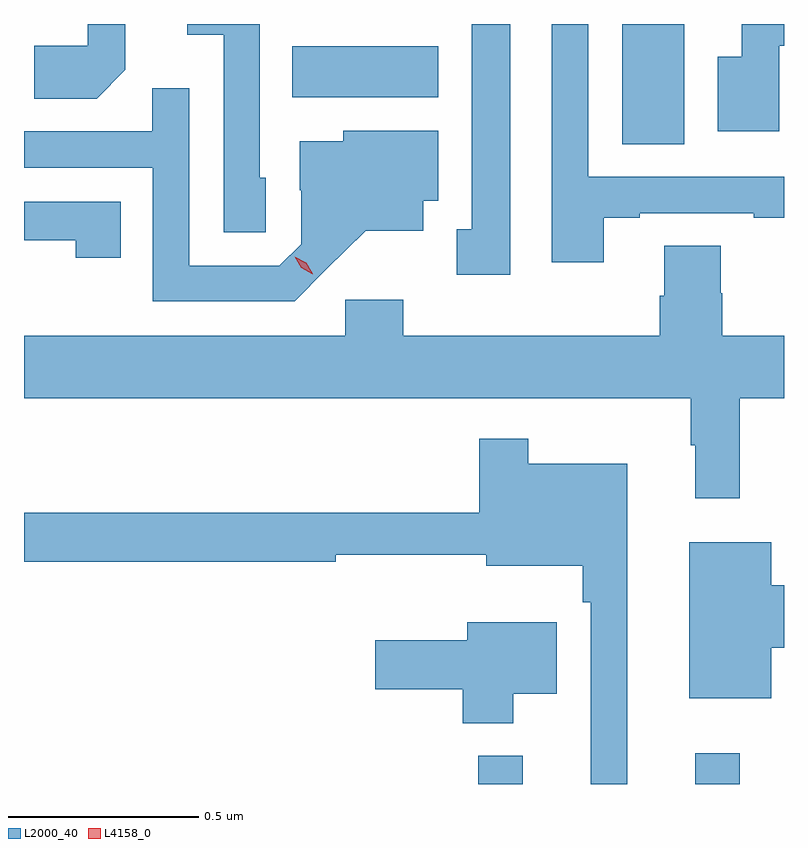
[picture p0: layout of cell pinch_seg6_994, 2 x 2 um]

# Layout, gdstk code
import gdstk
lib = gdstk.Library(unit=1e-6, precision=1e-09)
def R(c, l, rs):  # rectangles x0, y0, x1, y1
    for r in rs: c.add(gdstk.rectangle(r[:2], r[2:], *l))
def P(c, l, *ps):  # polygons
    for p in ps: c.add(gdstk.Polygon(p, *l))
L2000_40 = (2000, 40)
L4158_0 = (4158, 0)

pinch_seg6_994 = lib.new_cell('pinch_seg6_994')
R(pinch_seg6_994, L2000_40, [(353.419,939.661,353.537,939.736), (353.99,939.661,354.107,939.742), (353.798,941.344,353.962,941.661), (352.93,941.468,353.314,941.602)])
P(pinch_seg6_994, L2000_40, [(352.86,941.256),(352.845,941.256),(352.845,941.661),(352.653,941.661),(352.653,941.633),(352.749,941.633),(352.749,941.113),(352.86,941.113)],
  [(352.491,941.54),(352.491,941.661),(352.392,941.661),(352.392,941.604),(352.251,941.604),(352.251,941.464),(352.415,941.464)],
  [(353.503,941.661),(353.402,941.661),(353.402,941.121),(353.363,941.121),(353.363,941.001),(353.503,941.001)],
  [(353.749,941.151),(353.845,941.151),(353.845,941.163),(354.145,941.163),(354.145,941.151),(354.224,941.151),(354.224,941.259),(353.709,941.259),(353.709,941.661),(353.613,941.661),(353.613,941.034),(353.749,941.034)],
  [(354.211,941.604),(354.224,941.604),(354.224,941.661),(354.113,941.661),(354.113,941.575),(354.05,941.575),(354.05,941.379),(354.211,941.379)],
  [(353.02,941.015),(353.123,941.117),(353.275,941.117),(353.275,941.196),(353.314,941.196),(353.314,941.38),(353.064,941.38),(353.064,941.353),(352.949,941.353),(352.949,941.224),(352.953,941.224),(352.953,941.082),(352.896,941.025),(352.659,941.025),(352.659,941.492),(352.561,941.492),(352.561,941.379),(352.224,941.379),(352.224,941.283),(352.563,941.283),(352.563,940.932),(352.936,940.932)],
  [(352.478,941.193),(352.224,941.193),(352.224,941.092),(352.36,941.092),(352.36,941.046),(352.478,941.046)],
  [(354.107,940.676),(354.224,940.676),(354.224,940.84),(354.062,940.84),(354.062,940.953),(354.057,940.953),(354.057,941.078),(353.909,941.078),(353.909,940.946),(353.897,940.946),(353.897,940.84),(353.222,940.84),(353.222,940.936),(353.07,940.936),(353.07,940.84),(352.224,940.84),(352.224,940.676),(353.979,940.676),(353.979,940.553),(353.99,940.553),(353.99,940.413),(354.107,940.413)],
  [(353.812,940.504),(353.551,940.504),(353.551,940.57),(353.422,940.57),(353.422,940.375),(352.224,940.375),(352.224,940.246),(353.045,940.246),(353.045,940.264),(353.441,940.264),(353.441,940.235),(353.695,940.235),(353.695,940.139),(353.715,940.139),(353.715,939.661),(353.812,939.661)],
  [(354.19,940.019),(354.224,940.019),(354.224,940.184),(354.19,940.184),(354.19,940.297),(353.975,940.297),(353.975,939.887),(354.19,939.887)],
  [(353.512,939.899),(353.626,939.899),(353.626,940.087),(353.39,940.087),(353.39,940.039),(353.148,940.039),(353.148,939.91),(353.378,939.91),(353.378,939.821),(353.512,939.821)])
P(pinch_seg6_994, L4158_0, [(352.984,941.003),(352.953,941.019),(352.936,941.049),(352.936,941.049),(352.937,941.049),(352.967,941.033),(352.984,941.004),(352.984,941.003)])

lib.write_gds('pinch_seg6_994.gds')
